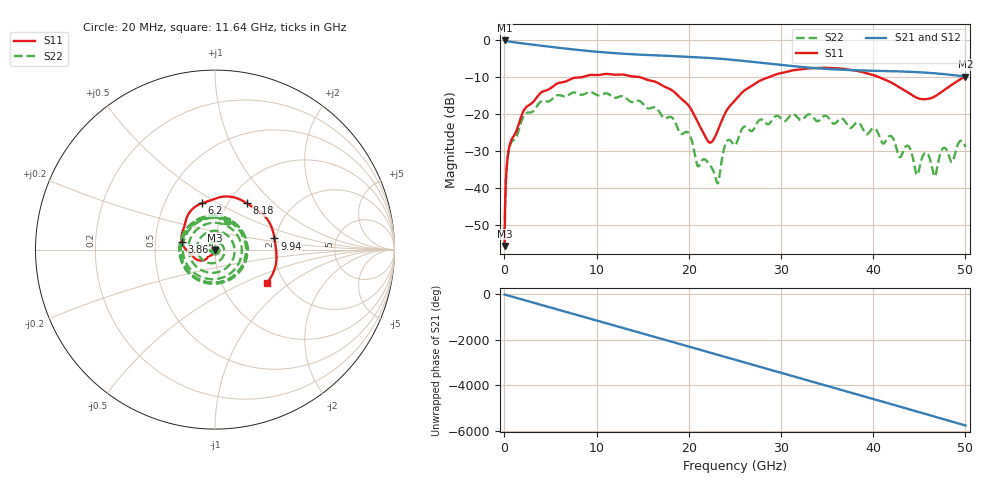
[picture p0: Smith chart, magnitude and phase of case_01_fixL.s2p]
# HZ S RI R 50
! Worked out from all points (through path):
!   2500 points, 20 MHz to 50 GHz, reference 50 ohm
!   highest |S21| = -0.06 dB at 20 MHz (marker M1); lowest = -9.8 dB at 50 GHz (marker M2)
!   group delay of S21, straight-line fit = 320 ps
!   lowest |S11| = -55.8 dB at 20 MHz (marker M3), VSWR 1.00, Z = 50 - j0.162 ohm
!   |S11| at or under -10 dB: start of sweep to 8.428 GHz; 14.68 GHz to 28.71 GHz (14.03 GHz wide, 64.7 % of centre); 40.62 GHz to 49.9 GHz (9.275 GHz wide, 20.5 % of centre)
!   |S22| runs from -55.8 to -14.0 dB; largest |S21 - S12| = 0
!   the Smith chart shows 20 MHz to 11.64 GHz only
!   S11 on the Smith chart (normalised r, x): 20 MHz: 1.00, -0.00; 3.86 GHz: 0.69, +0.06; 6.2 GHz: 0.76, +0.43; 8.18 GHz: 1.22, +0.69; 9.94 GHz: 1.97, +0.28; 11.64 GHz: 1.63, -0.69
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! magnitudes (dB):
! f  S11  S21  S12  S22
! 20 MHz  -55.8  -0.1  -0.1  -55.8
! 320 MHz  -32.3  -0.3  -0.3  -32.6
! 640 MHz  -27.8  -0.4  -0.4  -28.3
! 3.86 GHz  -14.4  -1.5  -1.5  -16.8
! 6.2 GHz  -11.4  -2.1  -2.1  -15.0
! 8.18 GHz  -10.1  -2.7  -2.7  -14.7
! 8.36 GHz  -10.0  -2.7  -2.7  -14.8
! 9.94 GHz  -9.4  -3.1  -3.1  -14.7
! 11.64 GHz  -9.3  -3.4  -3.4  -15.2
! 16.68 GHz  -11.6  -4.1  -4.1  -18.9
! 22.28 GHz  -27.8  -4.8  -4.8  -33.8
! 23.12 GHz  -24.6  -5.0  -5.0  -38.8
! 24.06 GHz  -19.2  -5.2  -5.2  -27.7
! 25.02 GHz  -16.3  -5.4  -5.4  -28.5
! 27.74 GHz  -10.9  -6.1  -6.1  -21.5
! 33.34 GHz  -7.6  -7.5  -7.5  -20.5
! 41.68 GHz  -11.1  -8.4  -8.4  -26.1
! 43.88 GHz  -14.3  -8.5  -8.5  -28.9
! 44.76 GHz  -15.6  -8.6  -8.6  -36.6
! 45.62 GHz  -16.0  -8.8  -8.8  -30.5
! 46.68 GHz  -15.2  -9.0  -9.0  -36.9
! 50 GHz  -9.9  -9.8  -9.8  -28.9
